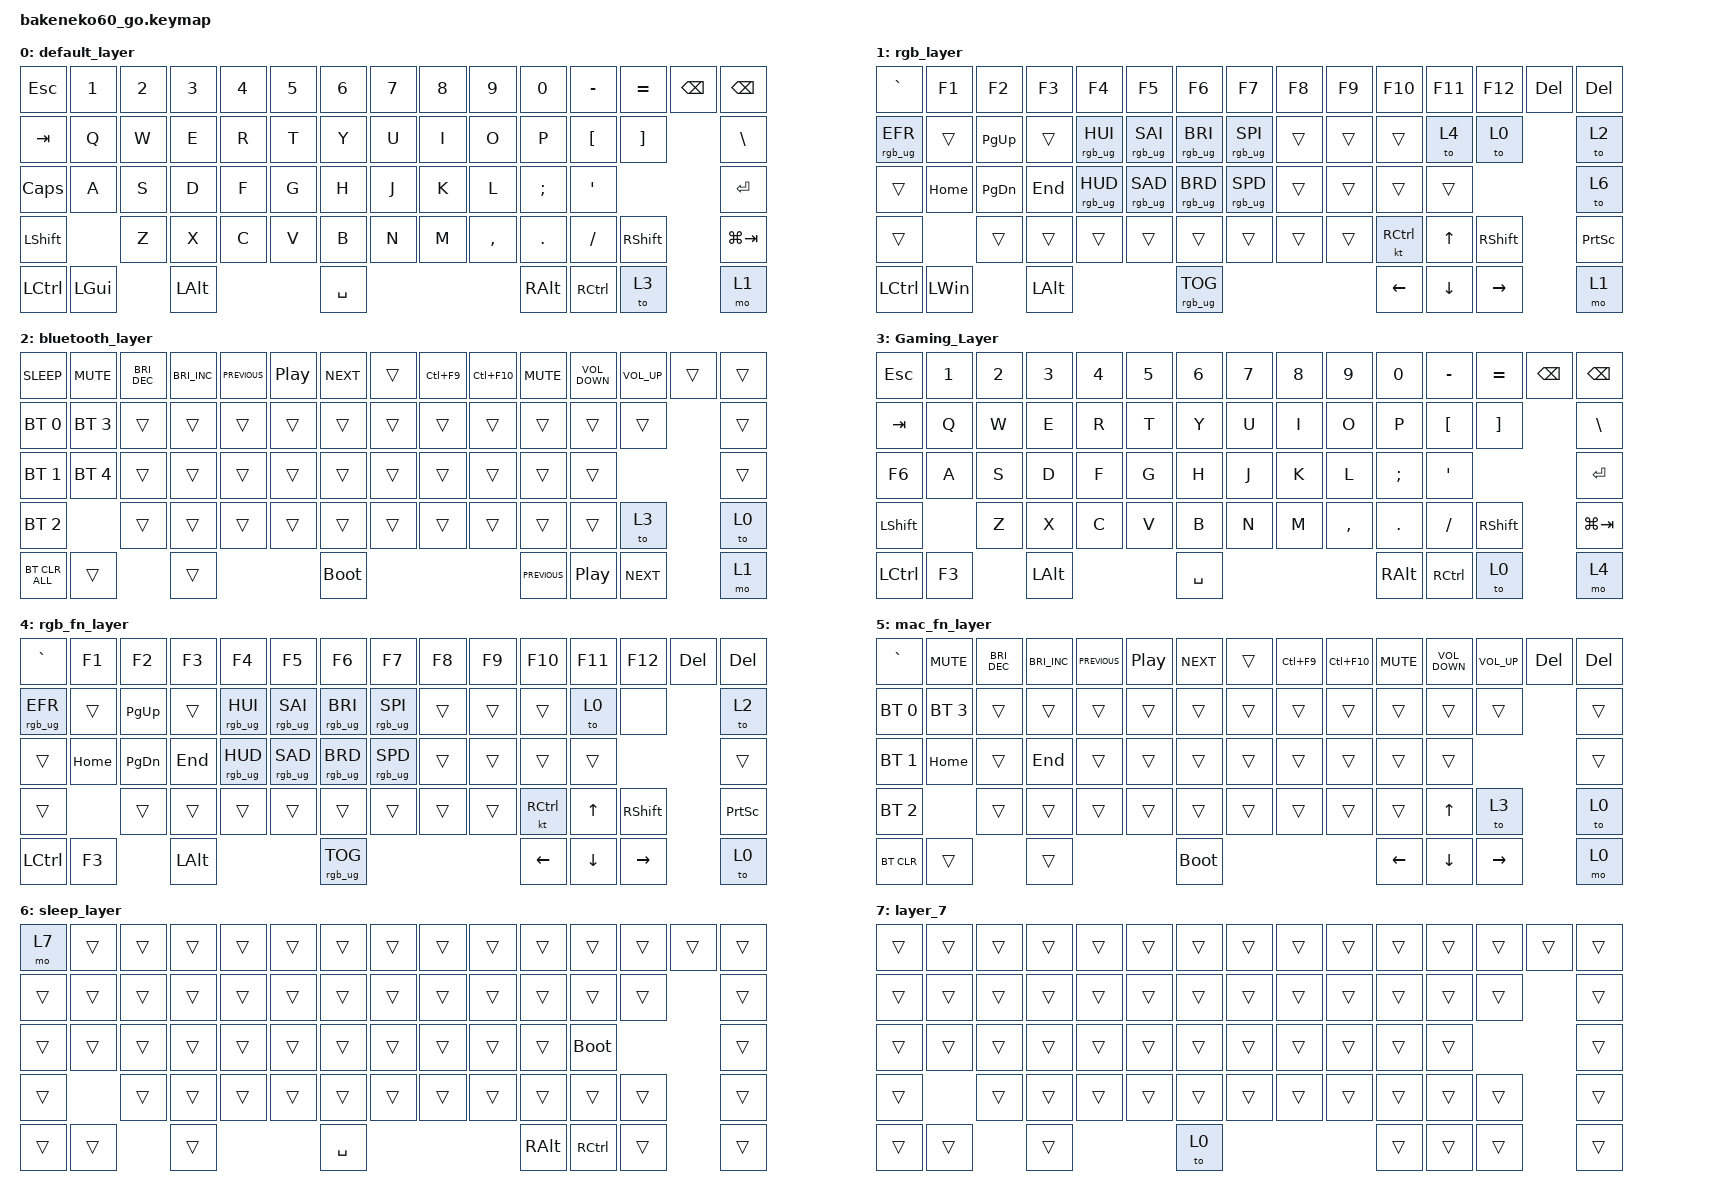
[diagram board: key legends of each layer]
/*
 * Copyright (c) 2023 Andrew Kannan
 *
 * SPDX-License-Identifier: MIT
 */

#include <behaviors.dtsi>
#include <dt-bindings/zmk/bt.h>
#include <dt-bindings/zmk/keys.h>
#include <dt-bindings/zmk/rgb.h>

/ {
    macros {
        zen_R_Space: new_macro {
            compatible = "zmk,behavior-macro";
            #binding-cells = <0>;
            bindings = <&kp RC(RA(RIGHT_ARROW))>;
            label = "NEW_MACRO";
        };

        zen_L_space: zen_L_space {
            compatible = "zmk,behavior-macro";
            #binding-cells = <0>;
            bindings = <&kp RA(RC(LEFT_ARROW))>;
            label = "ZEN_L_SPACE";
        };
    };

    keymap {
        compatible = "zmk,keymap";

        default_layer {
            // ------------------------------------------------------------------------------------------
            // | ESC |  1  |  2  |  3  |  4  |  5  |  6  |  7  |  8  |  9  |  0  |  -  |  =  | BKSP|BKSP|
            // | TAB  |  Q  |  W  |  E  |  R  |  T  |  Y  |  U  |  I  |  O  |  P  |  [  |  ]  |   "|"   |
            // | CAPS  |  A  |  S  |  D  |  F  |  G  |  H  |  J  |  K  |  L  |  ;  |  '  |     ENTER    |
            // |  SHIFT  |  Z  |  X  |  C  |  V  |  B  |  N  |  M  |  ,  |  .  |  /  |  SHIFT  | MO(1)  |
            // |  CTL  |  WIN  |  ALT  |            SPACE              |  ALT  |  WIN  |  MO(1) |  CTL  |
            // ------------------------------------------------------------------------------------------

            bindings = <
&kp ESCAPE  &kp N1    &kp N2  &kp N3    &kp N4  &kp N5  &kp N6     &kp N7  &kp N8  &kp N9     &kp N0    &kp MINUS  &kp EQUAL  &kp BSPC  &kp BSPC
&kp TAB     &kp Q     &kp W   &kp E     &kp R   &kp T   &kp Y      &kp U   &kp I   &kp O      &kp P     &kp LBKT   &kp RBKT             &kp BSLH
&kp CLCK    &kp A     &kp S   &kp D     &kp F   &kp G   &kp H      &kp J   &kp K   &kp L      &kp SEMI  &kp SQT                         &kp RET
&kp LSHFT             &kp Z   &kp X     &kp C   &kp V   &kp B      &kp N   &kp M   &kp COMMA  &kp DOT   &kp FSLH   &kp RSHFT            &kp LG(TAB)
&kp LCTRL   &kp LGUI          &kp LALT                  &kp SPACE                             &kp RALT  &kp RCTRL  &to 3                &mo 1
            >;
        };

        rgb_layer {
            // ------------------------------------------------------------------------------------------------
            // |    `   | F1  | F2  | F3  | F4  | F5  | F6  | F7  | F8  | F9  | F10  | F11 | F12 |     | DEL  |
            // | EFCT REV|   |  UP |   | HUEUP | SATUP | BRIUP | SPDUP |      |  PGUP |    |     |    |       |
            // | EFCT FWD | LT |  DN  | RT | HUEDN | SATDN | BRIDN | SPDDN | HOME | PGDN | END  |  | BOOTLDR  |
            // |             |     |      |      |     |     |     |     |     |     |     |         |        |
            // |         |      |      |             TOG RGB                | PRT SCR |       |       |  MO(2)|
            // ------------------------------------------------------------------------------------------------

            bindings = <
&kp GRAVE        &kp F1        &kp F2         &kp F3        &kp F4           &kp F5           &kp F6           &kp F7           &kp F8  &kp F9  &kp F10    &kp F11   &kp F12          &kp DELETE  &kp DEL
&rgb_ug RGB_EFR  &trans        &kp PAGE_UP    &trans        &rgb_ug RGB_HUI  &rgb_ug RGB_SAI  &rgb_ug RGB_BRI  &rgb_ug RGB_SPI  &trans  &trans  &trans     &to 4     &to 0                        &to 2
&trans           &kp HOME      &kp PAGE_DOWN  &kp END       &rgb_ug RGB_HUD  &rgb_ug RGB_SAD  &rgb_ug RGB_BRD  &rgb_ug RGB_SPD  &trans  &trans  &trans     &trans                                 &to 6
&trans                         &trans         &trans        &trans           &trans           &trans           &trans           &trans  &trans  &kt RCTRL  &kp UP    &kp RIGHT_SHIFT              &kp PRINTSCREEN
&kp LCTRL        &kp LEFT_WIN                 &kp LEFT_ALT                                    &rgb_ug RGB_TOG                                   &kp LEFT   &kp DOWN  &kp RIGHT                    &mo 1
            >;
        };

        bluetooth_layer {
            // ------------------------------------------------------------------------------------------------
            // | BT CLR |     |     |     |     |     |     |     |     |     |     |    |    |       |       |
            // |  BT 1   |   |     |   |       |       |       |       |   |     |    |     |     |           |
            // |   BT 2   |    |      |    |       |       |       |       |      |      |      |  |   Reset  |
            // |    BT 3     |     |      |      |     |     |     |     |     |     |     |         |        |
            // |   BT 4  |      |      |                                    |         |       |       |       |
            // ------------------------------------------------------------------------------------------------

            bindings = <
&kp C_SLEEP     &kp C_MUTE    &kp C_BRIGHTNESS_DEC  &kp C_BRIGHTNESS_INC  &kp C_PREVIOUS  &kp C_PLAY_PAUSE  &kp C_NEXT   &trans  &kp LC(F9)  &kp LC(F10)  &kp K_MUTE      &kp C_VOLUME_DOWN  &kp C_VOLUME_UP  &trans  &trans
&bt BT_SEL 0    &bt BT_SEL 3  &trans                &trans                &trans          &trans            &trans       &trans  &trans      &trans       &trans          &trans             &trans                   &trans
&bt BT_SEL 1    &bt BT_SEL 4  &trans                &trans                &trans          &trans            &trans       &trans  &trans      &trans       &trans          &trans                                      &trans
&bt BT_SEL 2                  &trans                &trans                &trans          &trans            &trans       &trans  &trans      &trans       &trans          &trans             &to 3                    &to 0
&bt BT_CLR_ALL  &trans                              &trans                                                  &bootloader                                   &kp C_PREVIOUS  &kp C_PLAY_PAUSE   &kp C_NEXT               &mo 1
            >;
        };

        Gaming_Layer {
            bindings = <
&kp ESC    &kp N1  &kp N2  &kp N3    &kp N4  &kp N5  &kp N6     &kp N7  &kp N8  &kp N9     &kp N0         &kp MINUS  &kp EQUAL  &kp BSPC  &kp BSPC
&kp TAB    &kp Q   &kp W   &kp E     &kp R   &kp T   &kp Y      &kp U   &kp I   &kp O      &kp P          &kp LBKT   &kp RBKT             &kp BSLH
&kp F6     &kp A   &kp S   &kp D     &kp F   &kp G   &kp H      &kp J   &kp K   &kp L      &kp SEMI       &kp SQT                         &kp RET
&kp LSHFT          &kp Z   &kp X     &kp C   &kp V   &kp B      &kp N   &kp M   &kp COMMA  &kp DOT        &kp FSLH   &kp RSHFT            &kp LG(TAB)
&kp LCTRL  &kp F3          &kp LALT                  &kp SPACE                             &kp RIGHT_ALT  &kp RCTRL  &to 0                &mo 4
            >;
        };

        rgb_fn_layer {
            bindings = <
&kp GRAVE        &kp F1    &kp F2         &kp F3        &kp F4           &kp F5           &kp F6           &kp F7           &kp F8  &kp F9  &kp F10         &kp F11         &kp F12          &kp DELETE  &kp DEL
&rgb_ug RGB_EFR  &trans    &kp PAGE_UP    &trans        &rgb_ug RGB_HUI  &rgb_ug RGB_SAI  &rgb_ug RGB_BRI  &rgb_ug RGB_SPI  &trans  &trans  &trans          &to 0           &none                        &to 2
&trans           &kp HOME  &kp PAGE_DOWN  &kp END       &rgb_ug RGB_HUD  &rgb_ug RGB_SAD  &rgb_ug RGB_BRD  &rgb_ug RGB_SPD  &trans  &trans  &trans          &trans                                       &trans
&trans                     &trans         &trans        &trans           &trans           &trans           &trans           &trans  &trans  &kt RCTRL       &kp UP_ARROW    &kp RIGHT_SHIFT              &kp PRINTSCREEN
&kp LCTRL        &kp F3                   &kp LEFT_ALT                                    &rgb_ug RGB_TOG                                   &kp LEFT_ARROW  &kp DOWN_ARROW  &kp RIGHT_ARROW              &to 0
            >;
        };

        mac_fn_layer {
            bindings = <
&kp GRAVE     &kp C_MUTE    &kp C_BRIGHTNESS_DEC  &kp C_BRIGHTNESS_INC  &kp C_PREVIOUS  &kp C_PLAY_PAUSE  &kp C_NEXT   &trans  &kp LC(F9)  &kp LC(F10)  &kp K_MUTE  &kp C_VOLUME_DOWN  &kp C_VOLUME_UP  &kp DEL  &kp DEL
&bt BT_SEL 0  &bt BT_SEL 3  &trans                &trans                &trans          &trans            &trans       &trans  &trans      &trans       &trans      &trans             &trans                    &trans
&bt BT_SEL 1  &kp HOME      &trans                &kp END               &trans          &trans            &trans       &trans  &trans      &trans       &trans      &trans                                       &trans
&bt BT_SEL 2                &trans                &trans                &trans          &trans            &trans       &trans  &trans      &trans       &trans      &kp UP             &to 3                     &to 0
&bt BT_CLR    &trans                              &trans                                                  &bootloader                                   &kp LEFT    &kp DOWN           &kp RIGHT                 &mo 0
            >;
        };

        sleep_layer {
            bindings = <
&mo 7   &trans  &trans  &trans  &trans  &trans  &trans     &trans  &trans  &trans  &trans         &trans       &trans  &trans  &trans
&trans  &trans  &trans  &trans  &trans  &trans  &trans     &trans  &trans  &trans  &trans         &trans       &trans          &trans
&trans  &trans  &trans  &trans  &trans  &trans  &trans     &trans  &trans  &trans  &trans         &bootloader                  &trans
&trans          &trans  &trans  &trans  &trans  &trans     &trans  &trans  &trans  &trans         &trans       &trans          &trans
&trans  &trans          &trans                  &kp SPACE                          &kp RIGHT_ALT  &kp RCTRL    &trans          &trans
            >;
        };

        layer_7 {
            bindings = <
&trans  &trans  &trans  &trans  &trans  &trans  &trans  &trans  &trans  &trans  &trans  &trans  &trans  &trans  &trans
&trans  &trans  &trans  &trans  &trans  &trans  &trans  &trans  &trans  &trans  &trans  &trans  &trans          &trans
&trans  &trans  &trans  &trans  &trans  &trans  &trans  &trans  &trans  &trans  &trans  &trans                  &trans
&trans          &trans  &trans  &trans  &trans  &trans  &trans  &trans  &trans  &trans  &trans  &trans          &trans
&trans  &trans          &trans                  &to 0                           &trans  &trans  &trans          &trans
            >;
        };
    };

    combos {
        compatible = "zmk,combos";

        sleep-kb {
            bindings = <&tog 6>;
            key-positions = <0 58>;
        };
    };
};
